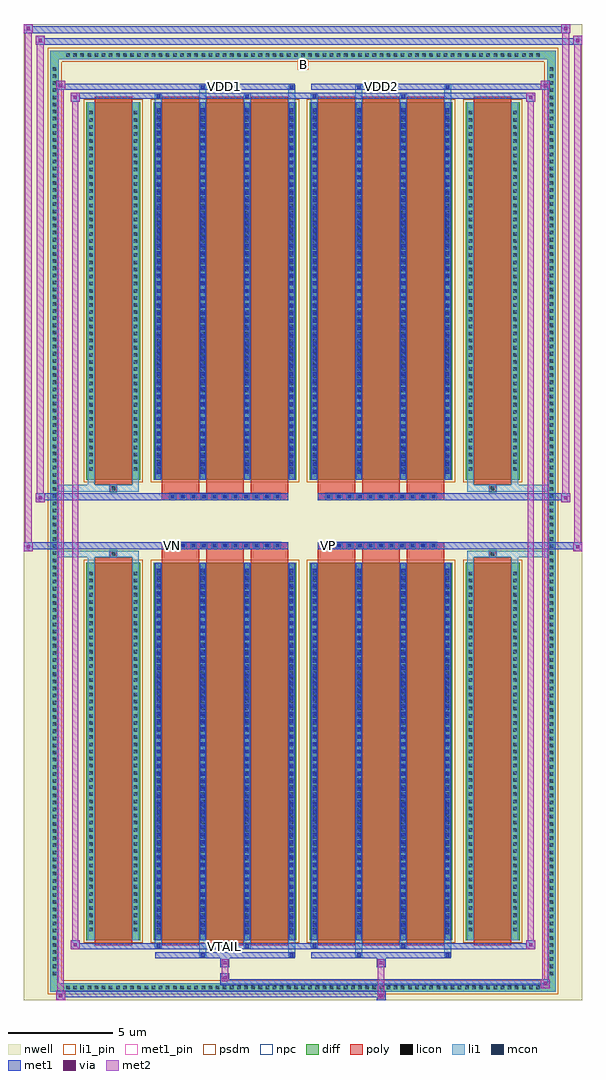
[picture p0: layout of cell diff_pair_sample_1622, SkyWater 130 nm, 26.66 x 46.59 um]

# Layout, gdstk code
import gdstk
lib = gdstk.Library(unit=1e-6, precision=5e-09)
def R(c, l, rs):  # rectangles x0, y0, x1, y1
    for r in rs: c.add(gdstk.rectangle(r[:2], r[2:], *l))
def A(c, l, x, y, w, h, nx, ny, dx, dy):  # array of equal rectangles
    R(c, l, [(x+i*dx, y+j*dy, x+i*dx+w, y+j*dy+h) for i in range(nx) for j in range(ny)])
def P(c, l, *ps):  # polygons
    for p in ps: c.add(gdstk.Polygon(p, *l))
nwell = (64, 20)
diff = (65, 20)
poly = (66, 20)
licon = (66, 44)
li1_pin = (67, 16)
li1 = (67, 20)
mcon = (67, 44)
met1_pin = (68, 16)
met1 = (68, 20)
via = (68, 44)
met2 = (69, 20)
psdm = (94, 20)
npc = (95, 20)

diff_pair_sample_1622 = lib.new_cell('diff_pair_sample_1622')
R(diff_pair_sample_1622, nwell, [(-13.33,-22.86,13.33,23.73), (-10.65,-21.05,-0.01,-0.805), (0.01,-21.05,10.65,-0.805), (-10.65,0.805,-0.01,21.05), (0.01,0.805,10.65,21.05)])
A(diff_pair_sample_1622, diff, -11.425, -22.46, 0.41, 0.41, 67, 2, 0.34, 44.51)
A(diff_pair_sample_1622, diff, -12.06, -21.795, 0.41, 0.41, 1, 128, 0, 0.34)
A(diff_pair_sample_1622, diff, 11.65, -21.795, 0.41, 0.41, 1, 128, 0, 0.34)
R(diff_pair_sample_1622, diff, [(-11.425,-22.46,11.425,-22.05), (-12.06,-21.795,-11.65,21.795), (11.65,-21.795,12.06,21.795), (-10.34,-20.005,-7.77,-1.985), (-7.13,-20.005,-0.32,-1.985), (0.32,-20.005,7.13,-1.985), (7.77,-20.005,10.34,-1.985), (-10.34,1.985,-7.77,20.005), (-7.13,1.985,-0.32,20.005), (0.32,1.985,7.13,20.005), (7.77,1.985,10.34,20.005), (-11.425,22.05,11.425,22.46)])
P(diff_pair_sample_1622, diff, [(12.06,22.46),(-12.06,22.46),(-12.06,-22.05),(-11.65,-22.05),(-11.65,22.05),(11.65,22.05),(11.65,-22.05),(-11.65,-22.05),(-12.06,-22.05),(-12.06,-22.46),(12.06,-22.46)])
A(diff_pair_sample_1622, poly, -6.74, -20.255, 1.79, 18.52, 3, 2, 2.12, 21.99)
A(diff_pair_sample_1622, poly, 0.71, -20.255, 1.79, 18.52, 3, 2, 2.12, 21.99)
A(diff_pair_sample_1622, poly, -6.74, -1.735, 1.79, 0.4, 3, 2, 2.12, 3.07)
A(diff_pair_sample_1622, poly, 0.71, -1.735, 1.79, 0.4, 3, 2, 2.12, 3.07)
A(diff_pair_sample_1622, poly, -6.39, -1.335, 0.33, 0.33, 11, 2, 0.5, 2.34)
A(diff_pair_sample_1622, poly, 1.06, -1.335, 0.33, 0.33, 11, 2, 0.5, 2.34)
R(diff_pair_sample_1622, poly, [(-9.95,-20.255,-8.16,-1.735), (8.16,-20.255,9.95,-1.735), (-9.22,-1.735,-8.89,-1.405), (-9.22,-1.735,-8.89,-1.405), (8.89,-1.735,9.22,-1.405), (8.89,-1.735,9.22,-1.405), (-6.74,-1.335,-0.71,-1.005), (0.71,-1.335,6.74,-1.005), (-6.74,1.005,-0.71,1.335), (0.71,1.005,6.74,1.335), (-9.22,1.405,-8.89,1.735), (-9.22,1.405,-8.89,1.735), (8.89,1.405,9.22,1.735), (8.89,1.405,9.22,1.735), (-9.95,1.735,-8.16,20.255), (8.16,1.735,9.95,20.255)])
A(diff_pair_sample_1622, licon, -11.305, -22.34, 0.17, 0.17, 67, 2, 0.34, 44.51)
A(diff_pair_sample_1622, licon, -11.94, -21.675, 0.17, 0.17, 1, 128, 0, 0.34)
A(diff_pair_sample_1622, licon, 11.77, -21.675, 0.17, 0.17, 1, 128, 0, 0.34)
A(diff_pair_sample_1622, licon, -10.2, -19.58, 0.17, 0.17, 1, 51, 0, 0.34)
A(diff_pair_sample_1622, licon, -8.08, -19.58, 0.17, 0.17, 1, 51, 0, 0.34)
A(diff_pair_sample_1622, licon, -6.99, -19.58, 0.17, 0.17, 4, 51, 2.12, 0.34)
A(diff_pair_sample_1622, licon, 0.46, -19.58, 0.17, 0.17, 4, 51, 2.12, 0.34)
A(diff_pair_sample_1622, licon, 7.91, -19.58, 0.17, 0.17, 1, 51, 0, 0.34)
A(diff_pair_sample_1622, licon, 10.03, -19.58, 0.17, 0.17, 1, 51, 0, 0.34)
A(diff_pair_sample_1622, licon, -6.31, -1.255, 0.17, 0.17, 11, 2, 0.5, 2.34)
A(diff_pair_sample_1622, licon, 1.14, -1.255, 0.17, 0.17, 11, 2, 0.5, 2.34)
A(diff_pair_sample_1622, licon, -10.2, 2.41, 0.17, 0.17, 1, 51, 0, 0.34)
A(diff_pair_sample_1622, licon, -8.08, 2.41, 0.17, 0.17, 1, 51, 0, 0.34)
A(diff_pair_sample_1622, licon, -6.99, 2.41, 0.17, 0.17, 4, 51, 2.12, 0.34)
A(diff_pair_sample_1622, licon, 0.46, 2.41, 0.17, 0.17, 4, 51, 2.12, 0.34)
A(diff_pair_sample_1622, licon, 7.91, 2.41, 0.17, 0.17, 1, 51, 0, 0.34)
A(diff_pair_sample_1622, licon, 10.03, 2.41, 0.17, 0.17, 1, 51, 0, 0.34)
R(diff_pair_sample_1622, licon, [(-9.14,-1.655,-8.97,-1.485), (8.97,-1.655,9.14,-1.485), (-9.14,1.485,-8.97,1.655), (8.97,1.485,9.14,1.655)])
R(diff_pair_sample_1622, li1_pin, [(-0.25,21.55,0.25,22.05)])
A(diff_pair_sample_1622, li1, -11.385, -22.42, 0.33, 0.33, 67, 2, 0.34, 44.51)
A(diff_pair_sample_1622, li1, -12.02, -21.755, 0.33, 0.33, 1, 128, 0, 0.34)
A(diff_pair_sample_1622, li1, 11.69, -21.755, 0.33, 0.33, 1, 128, 0, 0.34)
A(diff_pair_sample_1622, li1, -7.07, -20.005, 0.33, 18.02, 4, 2, 2.12, 21.99)
A(diff_pair_sample_1622, li1, 0.38, -20.005, 0.33, 18.02, 4, 2, 2.12, 21.99)
A(diff_pair_sample_1622, li1, -6.99, -19.72, 0.17, 0.17, 4, 49, 2.12, 0.36)
A(diff_pair_sample_1622, li1, -6.99, -19.72, 0.17, 17.45, 4, 2, 2.12, 21.99)
A(diff_pair_sample_1622, li1, 0.46, -19.72, 0.17, 0.17, 4, 49, 2.12, 0.36)
A(diff_pair_sample_1622, li1, 0.46, -19.72, 0.17, 17.45, 4, 2, 2.12, 21.99)
A(diff_pair_sample_1622, li1, -10.28, -19.66, 0.33, 0.33, 1, 51, 0, 0.34)
A(diff_pair_sample_1622, li1, -8.16, -19.66, 0.33, 0.33, 1, 51, 0, 0.34)
A(diff_pair_sample_1622, li1, -7.07, -19.66, 0.33, 0.33, 4, 51, 2.12, 0.34)
A(diff_pair_sample_1622, li1, 0.38, -19.66, 0.33, 0.33, 4, 51, 2.12, 0.34)
A(diff_pair_sample_1622, li1, 7.83, -19.66, 0.33, 0.33, 1, 51, 0, 0.34)
A(diff_pair_sample_1622, li1, 9.95, -19.66, 0.33, 0.33, 1, 51, 0, 0.34)
A(diff_pair_sample_1622, li1, -6.39, -1.335, 0.33, 0.33, 11, 2, 0.5, 2.34)
A(diff_pair_sample_1622, li1, 1.06, -1.335, 0.33, 0.33, 11, 2, 0.5, 2.34)
A(diff_pair_sample_1622, li1, -6.99, 2.27, 0.17, 0.17, 4, 49, 2.12, 0.36)
A(diff_pair_sample_1622, li1, 0.46, 2.27, 0.17, 0.17, 4, 49, 2.12, 0.36)
A(diff_pair_sample_1622, li1, -10.28, 2.33, 0.33, 0.33, 1, 51, 0, 0.34)
A(diff_pair_sample_1622, li1, -8.16, 2.33, 0.33, 0.33, 1, 51, 0, 0.34)
A(diff_pair_sample_1622, li1, -7.07, 2.33, 0.33, 0.33, 4, 51, 2.12, 0.34)
A(diff_pair_sample_1622, li1, 0.38, 2.33, 0.33, 0.33, 4, 51, 2.12, 0.34)
A(diff_pair_sample_1622, li1, 7.83, 2.33, 0.33, 0.33, 1, 51, 0, 0.34)
A(diff_pair_sample_1622, li1, 9.95, 2.33, 0.33, 0.33, 1, 51, 0, 0.34)
R(diff_pair_sample_1622, li1, [(-12.06,-22.46,-11.65,-22.05), (-12.06,-22.46,-11.65,-22.05), (-11.65,-22.46,11.65,-22.05), (11.65,-22.46,12.06,-22.05), (11.65,-22.46,12.06,-22.05), (-12.06,-22.05,-11.65,22.05), (11.65,-22.05,12.06,22.05), (-4.95,-20.81,-4.62,-20.005), (-4.87,-20.81,-4.7,-20.64), (-0.71,-20.81,-0.38,-20.005), (-0.63,-20.81,-0.46,-20.64), (2.5,-20.81,2.83,-20.005), (2.58,-20.81,2.75,-20.64), (6.74,-20.81,7.07,-20.005), (6.82,-20.81,6.99,-20.64), (-7.07,-20.38,-6.74,-20.005), (-6.99,-20.38,-6.82,-20.21), (-2.83,-20.38,-2.5,-20.005), (-2.75,-20.38,-2.58,-20.21), (0.38,-20.38,0.71,-20.005), (0.46,-20.38,0.63,-20.21), (4.62,-20.38,4.95,-20.005), (4.7,-20.38,4.87,-20.21), (-10.28,-20.005,-9.95,-1.985), (-8.16,-20.005,-7.83,-1.985), (7.83,-20.005,8.16,-1.985), (9.95,-20.005,10.28,-1.985), (-10.28,-1.985,-9.95,-1.405), (-8.16,-1.985,-7.83,-1.405), (7.83,-1.985,8.16,-1.405), (9.95,-1.985,10.28,-1.405), (-12.06,-1.735,-9.22,-1.405), (-10.28,-1.735,-9.22,-1.405), (-9.22,-1.735,-8.89,-1.405), (-8.89,-1.735,-7.83,-1.405), (7.83,-1.735,8.89,-1.405), (8.89,-1.735,9.22,-1.405), (8.89,-1.735,12.06,-1.405), (9.22,-1.735,10.28,-1.405), (-12.06,1.405,-9.22,1.735), (-10.28,1.405,-9.22,1.735), (-10.28,1.405,-9.95,1.985), (-9.22,1.405,-8.89,1.735), (-8.89,1.405,-7.83,1.735), (-8.16,1.405,-7.83,1.985), (7.83,1.405,8.89,1.735), (7.83,1.405,8.16,1.985), (8.89,1.405,9.22,1.735), (8.89,1.405,12.06,1.735), (9.22,1.405,10.28,1.735), (9.95,1.405,10.28,1.985), (-10.28,1.985,-9.95,20.005), (-8.16,1.985,-7.83,20.005), (7.83,1.985,8.16,20.005), (9.95,1.985,10.28,20.005), (-7.07,20.005,-6.74,20.38), (-4.95,20.005,-4.62,20.81), (-2.83,20.005,-2.5,20.38), (-0.71,20.005,-0.38,20.81), (0.38,20.005,0.71,20.38), (2.5,20.005,2.83,20.81), (4.62,20.005,4.95,20.38), (6.74,20.005,7.07,20.81), (-6.99,20.21,-6.82,20.38), (-2.75,20.21,-2.58,20.38), (0.46,20.21,0.63,20.38), (4.7,20.21,4.87,20.38), (-4.87,20.64,-4.7,20.81), (-0.63,20.64,-0.46,20.81), (2.58,20.64,2.75,20.81), (6.82,20.64,6.99,20.81), (-12.06,22.05,-11.65,22.46), (-12.06,22.05,-11.65,22.46), (-11.65,22.05,11.65,22.46), (11.65,22.05,12.06,22.46), (11.65,22.05,12.06,22.46)])
A(diff_pair_sample_1622, mcon, -6.99, -19.72, 0.17, 0.17, 4, 49, 2.12, 0.36)
A(diff_pair_sample_1622, mcon, 0.46, -19.72, 0.17, 0.17, 4, 49, 2.12, 0.36)
A(diff_pair_sample_1622, mcon, -6.31, -1.255, 0.17, 0.17, 11, 2, 0.5, 2.34)
A(diff_pair_sample_1622, mcon, 1.14, -1.255, 0.17, 0.17, 11, 2, 0.5, 2.34)
A(diff_pair_sample_1622, mcon, -6.99, 2.27, 0.17, 0.17, 4, 49, 2.12, 0.36)
A(diff_pair_sample_1622, mcon, 0.46, 2.27, 0.17, 0.17, 4, 49, 2.12, 0.36)
R(diff_pair_sample_1622, mcon, [(-4.87,-20.81,-4.7,-20.64), (-0.63,-20.81,-0.46,-20.64), (2.58,-20.81,2.75,-20.64), (6.82,-20.81,6.99,-20.64), (-6.99,-20.38,-6.82,-20.21), (-2.75,-20.38,-2.58,-20.21), (0.46,-20.38,0.63,-20.21), (4.7,-20.38,4.87,-20.21), (-6.99,20.21,-6.82,20.38), (-2.75,20.21,-2.58,20.38), (0.46,20.21,0.63,20.38), (4.7,20.21,4.87,20.38), (-4.87,20.64,-4.7,20.81), (-0.63,20.64,-0.46,20.81), (2.58,20.64,2.75,20.81), (6.82,20.64,6.99,20.81)])
R(diff_pair_sample_1622, met1_pin, [(-3.86,-20.42,-3.59,-20.15), (-6.36,-1.295,-6.09,-1.025), (1.09,-1.295,1.36,-1.025), (-3.86,20.6,-3.59,20.87), (3.59,20.6,3.86,20.87)])
A(diff_pair_sample_1622, met1, -7.05, -20.005, 0.29, 18.02, 4, 2, 2.12, 21.99)
A(diff_pair_sample_1622, met1, 0.4, -20.005, 0.29, 18.02, 4, 2, 2.12, 21.99)
A(diff_pair_sample_1622, met1, -7.05, -19.78, 0.29, 0.29, 4, 49, 2.12, 0.36)
A(diff_pair_sample_1622, met1, 0.4, -19.78, 0.29, 0.29, 4, 49, 2.12, 0.36)
A(diff_pair_sample_1622, met1, -6.37, -1.315, 0.29, 0.29, 11, 2, 0.5, 2.34)
A(diff_pair_sample_1622, met1, 1.08, -1.315, 0.29, 0.29, 11, 2, 0.5, 2.34)
A(diff_pair_sample_1622, met1, -7.05, 2.21, 0.29, 0.29, 4, 49, 2.12, 0.36)
A(diff_pair_sample_1622, met1, 0.4, 2.21, 0.29, 0.29, 4, 49, 2.12, 0.36)
R(diff_pair_sample_1622, met1, [(-11.79,-22.86,-11.36,-22.43), (3.51,-22.86,3.94,-22.43), (-11.79,-22.72,3.94,-22.43), (11.36,-22.29,11.79,-21.86), (-3.94,-22.15,11.79,-21.86), (-3.94,-22.01,-3.51,-21.58), (-3.94,-21.3,-3.51,-20.87), (3.51,-21.3,3.94,-20.87), (-7.05,-20.87,-0.4,-20.58), (-4.93,-20.87,-4.64,-20.58), (-0.69,-20.87,-0.4,-20.58), (0.4,-20.87,7.05,-20.58), (2.52,-20.87,2.81,-20.58), (6.76,-20.87,7.05,-20.58), (-11.08,-20.44,-10.65,-20.01), (-11.08,-20.44,-7.05,-20.15), (-7.05,-20.44,-6.76,-20.15), (-7.05,-20.44,-0.4,-20.15), (-2.81,-20.44,-2.52,-20.15), (-0.4,-20.44,0.4,-20.15), (0.4,-20.44,0.69,-20.15), (0.4,-20.44,7.05,-20.15), (4.64,-20.44,4.93,-20.15), (7.05,-20.44,11.08,-20.15), (10.65,-20.44,11.08,-20.01), (-13.33,-1.435,-12.9,-1.005), (12.9,-1.435,13.33,-1.005), (-13.33,-1.335,-0.71,-1.005), (-6.74,-1.335,-0.71,-1.005), (0.71,-1.335,6.74,-1.005), (0.71,-1.335,13.33,-1.005), (-12.76,0.905,-12.33,1.335), (12.33,0.905,12.76,1.335), (-12.76,1.005,-6.74,1.335), (-6.74,1.005,-0.71,1.335), (0.71,1.005,6.74,1.335), (6.74,1.005,12.76,1.335), (-11.08,20.01,-10.65,20.44), (10.65,20.01,11.08,20.44), (-11.08,20.15,-7.05,20.44), (-7.05,20.15,-6.76,20.44), (-7.05,20.15,-0.4,20.44), (-2.81,20.15,-2.52,20.44), (-0.4,20.15,0.4,20.44), (0.4,20.15,0.69,20.44), (0.4,20.15,7.05,20.44), (4.64,20.15,4.93,20.44), (7.05,20.15,11.08,20.44), (-11.79,20.58,-11.36,21.01), (-11.79,20.58,-7.05,20.87), (-7.05,20.58,-0.4,20.87), (-4.93,20.58,-4.64,20.87), (-0.69,20.58,-0.4,20.87), (0.4,20.58,7.05,20.87), (2.52,20.58,2.81,20.87), (6.76,20.58,7.05,20.87), (7.05,20.58,11.79,20.87), (11.36,20.58,11.79,21.01), (-12.76,22.73,-12.33,23.16), (-12.76,22.73,-10.65,23.06), (-10.65,22.73,10.65,23.06), (10.65,22.73,13.33,23.06), (12.9,22.73,13.33,23.16), (-13.33,23.3,-12.9,23.73), (-13.33,23.3,-10.65,23.63), (-10.65,23.3,10.65,23.63), (10.65,23.3,12.76,23.63), (12.33,23.3,12.76,23.73)])
R(diff_pair_sample_1622, via, [(-11.65,-22.72,-11.5,-22.57), (3.65,-22.72,3.8,-22.57), (11.5,-22.15,11.65,-22), (-3.8,-21.87,-3.65,-21.72), (-3.8,-21.16,-3.65,-21.01), (3.65,-21.16,3.8,-21.01), (-10.94,-20.3,-10.79,-20.15), (10.79,-20.3,10.94,-20.15), (-13.19,-1.295,-13.04,-1.145), (13.04,-1.295,13.19,-1.145), (-12.62,1.045,-12.47,1.195), (12.47,1.045,12.62,1.195), (-10.94,20.15,-10.79,20.3), (10.79,20.15,10.94,20.3), (-11.65,20.72,-11.5,20.87), (11.5,20.72,11.65,20.87), (-12.62,22.87,-12.47,23.02), (13.04,22.87,13.19,23.02), (-13.19,23.44,-13.04,23.59), (12.47,23.44,12.62,23.59)])
R(diff_pair_sample_1622, met2, [(-11.79,-22.86,-11.36,-22.43), (-11.72,-22.86,-11.43,21.01), (-11.43,-22.86,-11.36,-22.43), (-11.74,-22.81,-11.41,-22.48), (3.56,-22.81,3.89,-22.48), (3.56,-22.48,3.89,-21.25), (11.36,-22.29,11.79,-21.86), (11.43,-22.29,11.72,21.01), (11.72,-22.29,11.79,-21.86), (11.41,-22.24,11.74,-21.91), (-3.89,-21.96,-3.56,-21.63), (-3.89,-21.63,-3.56,-21.25), (-3.89,-21.25,-3.56,-20.92), (3.56,-21.25,3.89,-20.92), (-11.08,-20.44,-10.65,-20.01), (-11.01,-20.44,-10.72,20.44), (-10.72,-20.44,-10.65,-20.01), (10.65,-20.44,11.08,-20.01), (10.72,-20.44,11.01,20.44), (11.01,-20.44,11.08,-20.01), (-11.03,-20.39,-10.7,-20.06), (10.7,-20.39,11.03,-20.06), (-13.33,-1.435,-12.9,-1.005), (-13.28,-1.435,-12.95,23.73), (-12.95,-1.435,-12.9,-1.005), (12.9,-1.435,13.33,-1.005), (12.95,-1.435,13.28,23.16), (13.28,-1.435,13.33,-1.005), (-13.28,-1.385,-12.95,-1.055), (12.95,-1.385,13.28,-1.055), (-12.76,0.905,-12.33,1.335), (-12.71,0.905,-12.38,23.16), (-12.38,0.905,-12.33,1.335), (12.33,0.905,12.76,1.335), (12.38,0.905,12.71,23.73), (12.71,0.905,12.76,1.335), (-12.71,0.955,-12.38,1.285), (12.38,0.955,12.71,1.285), (-11.08,20.01,-10.65,20.44), (-10.72,20.01,-10.65,20.44), (10.65,20.01,11.08,20.44), (11.01,20.01,11.08,20.44), (-11.03,20.06,-10.7,20.39), (10.7,20.06,11.03,20.39), (-11.79,20.58,-11.36,21.01), (-11.43,20.58,-11.36,21.01), (11.36,20.58,11.79,21.01), (11.72,20.58,11.79,21.01), (-11.74,20.63,-11.41,20.96), (11.41,20.63,11.74,20.96), (-12.76,22.73,-12.33,23.16), (-12.38,22.73,-12.33,23.16), (12.9,22.73,13.33,23.16), (13.28,22.73,13.33,23.16), (-12.71,22.78,-12.38,23.11), (12.95,22.78,13.28,23.11), (-13.33,23.3,-12.9,23.73), (-12.95,23.3,-12.9,23.73), (12.33,23.3,12.76,23.73), (12.71,23.3,12.76,23.73), (-13.28,23.35,-12.95,23.68), (12.38,23.35,12.71,23.68)])
R(diff_pair_sample_1622, psdm, [(-10.47,-20.135,-7.64,-1.855), (-7.26,-20.135,-0.19,-1.855), (0.19,-20.135,7.26,-1.855), (7.64,-20.135,10.47,-1.855), (-10.47,1.855,-7.64,20.135), (-7.26,1.855,-0.19,20.135), (0.19,1.855,7.26,20.135), (7.64,1.855,10.47,20.135)])
P(diff_pair_sample_1622, psdm, [(12.19,22.59),(-12.19,22.59),(-12.19,-21.92),(-11.52,-21.92),(-11.52,21.92),(11.52,21.92),(11.52,-21.92),(-11.52,-21.92),(-12.19,-21.92),(-12.19,-22.59),(12.19,-22.59)])
A(diff_pair_sample_1622, npc, -6.41, -1.355, 0.37, 0.37, 11, 2, 0.5, 2.34)
A(diff_pair_sample_1622, npc, 1.04, -1.355, 0.37, 0.37, 11, 2, 0.5, 2.34)
R(diff_pair_sample_1622, npc, [(-9.24,-1.755,-8.87,-1.385), (8.87,-1.755,9.24,-1.385), (-6.41,-1.355,-5.54,-0.985), (-6.41,-1.355,-5.54,-0.985), (-5.91,-1.355,-5.04,-0.985), (-5.91,-1.355,-5.04,-0.985), (-5.41,-1.355,-4.54,-0.985), (-5.41,-1.355,-4.54,-0.985), (-4.91,-1.355,-4.04,-0.985), (-4.91,-1.355,-4.04,-0.985), (-4.41,-1.355,-3.54,-0.985), (-4.41,-1.355,-3.54,-0.985), (-3.91,-1.355,-3.04,-0.985), (-3.91,-1.355,-3.04,-0.985), (-3.41,-1.355,-2.54,-0.985), (-3.41,-1.355,-2.54,-0.985), (-2.91,-1.355,-2.04,-0.985), (-2.91,-1.355,-2.04,-0.985), (-2.41,-1.355,-1.54,-0.985), (-2.41,-1.355,-1.54,-0.985), (-1.91,-1.355,-1.04,-0.985), (-1.91,-1.355,-1.04,-0.985), (1.04,-1.355,1.91,-0.985), (1.04,-1.355,1.91,-0.985), (1.54,-1.355,2.41,-0.985), (1.54,-1.355,2.41,-0.985), (2.04,-1.355,2.91,-0.985), (2.04,-1.355,2.91,-0.985), (2.54,-1.355,3.41,-0.985), (2.54,-1.355,3.41,-0.985), (3.04,-1.355,3.91,-0.985), (3.04,-1.355,3.91,-0.985), (3.54,-1.355,4.41,-0.985), (3.54,-1.355,4.41,-0.985), (4.04,-1.355,4.91,-0.985), (4.04,-1.355,4.91,-0.985), (4.54,-1.355,5.41,-0.985), (4.54,-1.355,5.41,-0.985), (5.04,-1.355,5.91,-0.985), (5.04,-1.355,5.91,-0.985), (5.54,-1.355,6.41,-0.985), (5.54,-1.355,6.41,-0.985), (-6.41,0.985,-5.54,1.355), (-6.41,0.985,-5.54,1.355), (-5.91,0.985,-5.04,1.355), (-5.91,0.985,-5.04,1.355), (-5.41,0.985,-4.54,1.355), (-5.41,0.985,-4.54,1.355), (-4.91,0.985,-4.04,1.355), (-4.91,0.985,-4.04,1.355), (-4.41,0.985,-3.54,1.355), (-4.41,0.985,-3.54,1.355), (-3.91,0.985,-3.04,1.355), (-3.91,0.985,-3.04,1.355), (-3.41,0.985,-2.54,1.355), (-3.41,0.985,-2.54,1.355), (-2.91,0.985,-2.04,1.355), (-2.91,0.985,-2.04,1.355), (-2.41,0.985,-1.54,1.355), (-2.41,0.985,-1.54,1.355), (-1.91,0.985,-1.04,1.355), (-1.91,0.985,-1.04,1.355), (1.04,0.985,1.91,1.355), (1.04,0.985,1.91,1.355), (1.54,0.985,2.41,1.355), (1.54,0.985,2.41,1.355), (2.04,0.985,2.91,1.355), (2.04,0.985,2.91,1.355), (2.54,0.985,3.41,1.355), (2.54,0.985,3.41,1.355), (3.04,0.985,3.91,1.355), (3.04,0.985,3.91,1.355), (3.54,0.985,4.41,1.355), (3.54,0.985,4.41,1.355), (4.04,0.985,4.91,1.355), (4.04,0.985,4.91,1.355), (4.54,0.985,5.41,1.355), (4.54,0.985,5.41,1.355), (5.04,0.985,5.91,1.355), (5.04,0.985,5.91,1.355), (5.54,0.985,6.41,1.355), (5.54,0.985,6.41,1.355), (-9.24,1.385,-8.87,1.755), (8.87,1.385,9.24,1.755)])
diff_pair_sample_1622.add(gdstk.Label('VTAIL', (-3.725,-20.285), layer=68, texttype=5))
diff_pair_sample_1622.add(gdstk.Label('VN', (-6.225,-1.16), layer=68, texttype=5))
diff_pair_sample_1622.add(gdstk.Label('VP', (1.225,-1.16), layer=68, texttype=5))
diff_pair_sample_1622.add(gdstk.Label('B', (0,21.8), layer=67, texttype=5))
diff_pair_sample_1622.add(gdstk.Label('VDD2', (3.725,20.735), layer=68, texttype=5))
diff_pair_sample_1622.add(gdstk.Label('VDD1', (-3.725,20.735), layer=68, texttype=5))

lib.write_gds('diff_pair_sample_1622.gds')
